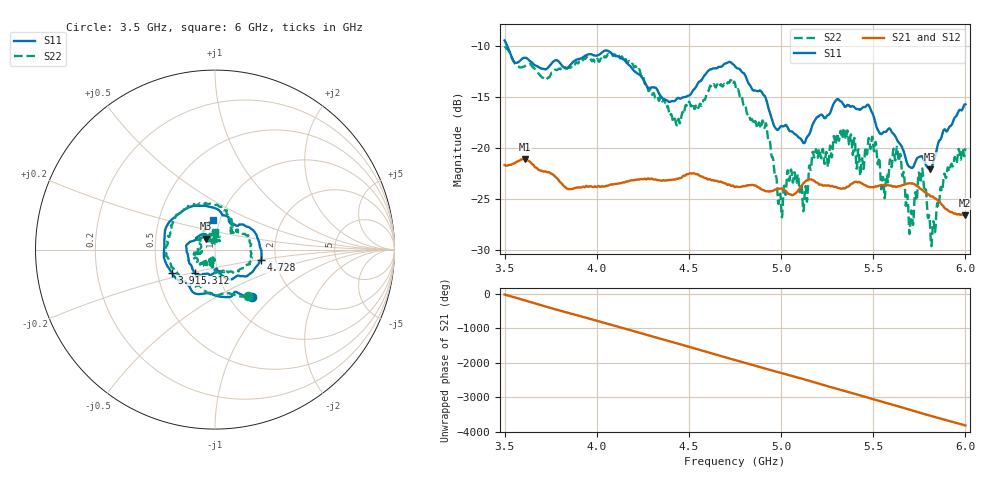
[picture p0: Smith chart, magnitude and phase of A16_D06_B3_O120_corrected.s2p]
! Created with skrf 1.9.0 (http://scikit-rf.org).
# Hz S RI R 50.0
!freq ReS11 ImS11 ReS21 ImS21 ReS12 ImS12 ReS22 ImS22
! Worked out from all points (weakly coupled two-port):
!   1601 points, 3.5 GHz to 6 GHz, reference 50 ohm
!   highest |S21| = -21.08 dB at 3.609 GHz (marker M1); lowest = -26.6 dB at 5.998 GHz (marker M2)
!   lowest |S11| = -22.1 dB at 5.808 GHz (marker M3), VSWR 1.17, Z = 45 + j5.53 ohm
!   |S11| at or under -10 dB: 3.514 GHz to end of sweep
!   |S22| runs from -29.6 to -10.1 dB; largest |S21 - S12| = 0.00095
!   S11 on the Smith chart (normalised r, x): 3.5 GHz: 1.27, -0.76; 3.913 GHz: 0.59, -0.16; 4.728 GHz: 1.67, -0.21; 5.312 GHz: 0.78, -0.21; 6 GHz: 0.93, +0.31
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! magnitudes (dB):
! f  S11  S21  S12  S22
! 3.5 GHz  -9.5  -21.7  -21.6  -10.1
! 3.609 GHz  -11.2  -21.1  -21.1  -12.0
! 3.913 GHz  -11.3  -23.9  -23.8  -11.6
! 3.917 GHz  -11.2  -23.9  -23.8  -11.6
! 4.127 GHz  -11.1  -23.5  -23.4  -11.2
! 4.334 GHz  -14.5  -23.2  -23.1  -15.3
! 4.442 GHz  -15.1  -23.0  -22.9  -17.2
! 4.728 GHz  -11.7  -23.7  -23.6  -13.4
! 4.75 GHz  -12.0  -23.8  -23.8  -13.7
! 4.912 GHz  -15.0  -24.2  -24.1  -18.0
! 4.995 GHz  -17.9  -24.0  -23.9  -24.5
! 5.045 GHz  -18.3  -24.5  -24.5  -23.2
! 5.13 GHz  -19.5  -23.3  -23.3  -24.0
! 5.167 GHz  -17.9  -23.1  -23.1  -21.0
! 5.312 GHz  -15.3  -23.9  -23.9  -19.3
! 5.584 GHz  -18.1  -23.7  -23.6  -22.5
! 5.639 GHz  -19.5  -23.8  -23.7  -21.3
! 5.706 GHz  -21.9  -23.5  -23.4  -26.1
! 5.759 GHz  -20.8  -24.0  -24.0  -22.9
! 5.808 GHz  -22.1  -24.7  -24.6  -27.4
! 5.998 GHz  -15.8  -26.6  -26.5  -20.3
! 6 GHz  -15.7  -26.6  -26.5  -20.0
